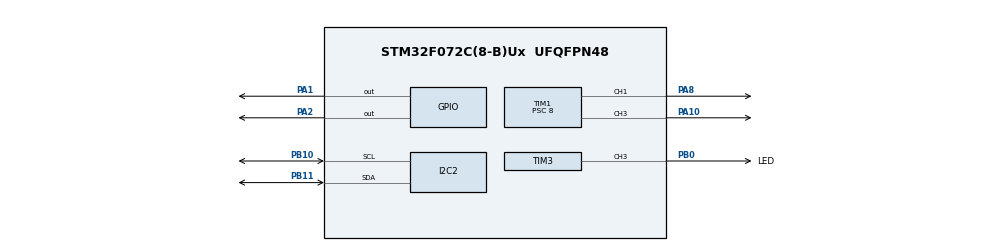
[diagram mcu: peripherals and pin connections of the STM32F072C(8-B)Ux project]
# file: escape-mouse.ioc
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I2C2.Timing=0x2000090E
Mcu.Family=STM32F0
Mcu.Name=STM32F072C(8-B)Ux
Mcu.Package=UFQFPN48
PA1.Signal=GPIO_Output
PA10.Signal=S_TIM1_CH3
PA13.Mode=Serial-WireDebug
PA13.Signal=SYS_SWDIO
PA14.Mode=Serial-WireDebug
PA14.Signal=SYS_SWCLK
PA2.Signal=GPIO_Output
PA8.Signal=S_TIM1_CH1
PB0.GPIO_Label=LED
PB0.GPIO_ModeDefaultPP=GPIO_MODE_AF_PP
PB0.GPIO_PuPd=GPIO_NOPULL
PB0.GPIO_Speed=GPIO_SPEED_LOW
PB0.Signal=S_TIM3_CH3
PB10.GPIO_Mode=GPIO_MODE_AF_OD
PB10.GPIO_PuPdOD=GPIO_NOPULL
PB10.GPIO_Speed=GPIO_SPEED_HIGH
PB10.Mode=I2C
PB10.Signal=I2C2_SCL
PB11.GPIO_Mode=GPIO_MODE_AF_OD
PB11.GPIO_PuPdOD=GPIO_NOPULL
PB11.GPIO_Speed=GPIO_SPEED_HIGH
PB11.Mode=I2C
PB11.Signal=I2C2_SDA
ProjectManager.TargetToolchain=MDK-ARM V5
SH.S_TIM1_CH1.0=TIM1_CH1,PWM Generation1 CH1
SH.S_TIM1_CH3.0=TIM1_CH3,PWM Generation3 CH3
SH.S_TIM3_CH3.0=TIM3_CH3,PWM Generation3 CH3
TIM1.Channel-PWM\ Generation3\ CH3=TIM_CHANNEL_3
TIM1.Period=20000
TIM1.Prescaler=8
TIM1.Pulse-PWM\ Generation1\ CH1=1340
TIM1.Pulse-PWM\ Generation3\ CH3=1340
TIM3.Channel-PWM\ Generation3\ CH3=TIM_CHANNEL_3
TIM3.Period=1000
TIM3.Prescaler=8
TIM3.Pulse-PWM\ Generation3\ CH3=120
VP_TIM1_VS_ClockSourceINT.Mode=Internal
VP_TIM3_VS_ClockSourceINT.Mode=Internal
board=escape-mouse

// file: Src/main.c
/**
  ******************************************************************************
  * File Name          : main.c
  * Description        : Main program body
  ******************************************************************************
  *
  * COPYRIGHT(c) 2015 STMicroelectronics
  *
  * Redistribution and use in source and binary forms, with or without modification,
  * are permitted provided that the following conditions are met:
  *   1. Redistributions of source code must retain the above copyright notice,
  *      this list of conditions and the following disclaimer.
  *   2. Redistributions in binary form must reproduce the above copyright notice,
  *      this list of conditions and the following disclaimer in the documentation
  *      and/or other materials provided with the distribution.
  *   3. Neither the name of STMicroelectronics nor the names of its contributors
  *      may be used to endorse or promote products derived from this software
  *      without specific prior written permission.
  *
  * THIS SOFTWARE IS PROVIDED BY THE COPYRIGHT HOLDERS AND CONTRIBUTORS "AS IS"
  * AND ANY EXPRESS OR IMPLIED WARRANTIES, INCLUDING, BUT NOT LIMITED TO, THE
  * IMPLIED WARRANTIES OF MERCHANTABILITY AND FITNESS FOR A PARTICULAR PURPOSE ARE
  * DISCLAIMED. IN NO EVENT SHALL THE COPYRIGHT HOLDER OR CONTRIBUTORS BE LIABLE
  * FOR ANY DIRECT, INDIRECT, INCIDENTAL, SPECIAL, EXEMPLARY, OR CONSEQUENTIAL
  * DAMAGES (INCLUDING, BUT NOT LIMITED TO, PROCUREMENT OF SUBSTITUTE GOODS OR
  * SERVICES; LOSS OF USE, DATA, OR PROFITS; OR BUSINESS INTERRUPTION) HOWEVER
  * CAUSED AND ON ANY THEORY OF LIABILITY, WHETHER IN CONTRACT, STRICT LIABILITY,
  * OR TORT (INCLUDING NEGLIGENCE OR OTHERWISE) ARISING IN ANY WAY OUT OF THE USE
  * OF THIS SOFTWARE, EVEN IF ADVISED OF THE POSSIBILITY OF SUCH DAMAGE.
  *
  ******************************************************************************
  */
#include "stm32f0xx_hal.h"

/* USER CODE BEGIN Includes */
#include "stdbool.h"
#include "vl6180x_api.h"

/* USER CODE END Includes */

I2C_HandleTypeDef hi2c2;

TIM_HandleTypeDef htim1;
TIM_HandleTypeDef htim3;

/* USER CODE BEGIN PV */
/* Private variables ---------------------------------------------------------*/
#define leftSensor  0x52
#define rightSensor  0x62

#define LEFT_RESET_PORT GPIOA
#define RIGHT_RESET_PORT GPIOA
#define LEFT_RESET_PIN GPIO_PIN_2
#define RIGHT_RESET_PIN GPIO_PIN_1

/* USER CODE END PV */

void SystemClock_Config(void);
static void MX_GPIO_Init(void);
static void MX_I2C2_Init(void);
static void MX_TIM1_Init(void);
static void MX_TIM3_Init(void);

/* USER CODE BEGIN PFP */
/* Private function prototypes -----------------------------------------------*/
void VL6180x_Reset(VL6180xDev_t dev, GPIO_PinState state);
int  VL6180x_I2CWrite(VL6180xDev_t dev, uint8_t  *buff, uint8_t len);
void CUSTOM_GPIO_Init(void);

/* USER CODE END PFP */

/* USER CODE BEGIN 0 */
void delay(int ms)
{
	uint32_t v = HAL_GetTick() + ms;
	while(HAL_GetTick() < v){
		__nop();
	}
}
void setMotorPwm(int sign, VL6180x_RangeData_t range, uint32_t channel)
{
	 int basePwm = 1340;
	 if(range.range_mm < 150) {
		 basePwm += sign * (500 - range.range_mm *3);
	 }
	 __HAL_TIM_SET_COMPARE(&htim1,channel,basePwm);
}

/* USER CODE END 0 */

int main(void)
{

  /* USER CODE BEGIN 1 */
	VL6180x_RangeData_t rangeLeft;
	VL6180x_RangeData_t rangeRight;

  /* USER CODE END 1 */

  /* MCU Configuration----------------------------------------------------------*/

  /* Reset of all peripherals, Initializes the Flash interface and the Systick. */
  HAL_Init();

  /* Configure the system clock */
  SystemClock_Config();

  /* Initialize all configured peripherals */
  MX_GPIO_Init();
  MX_I2C2_Init();
  MX_TIM1_Init();
  MX_TIM3_Init();

  /* USER CODE BEGIN 2 */
	CUSTOM_GPIO_Init();
  VL6180x_Reset(leftSensor, GPIO_PIN_RESET);
  VL6180x_Reset(rightSensor, GPIO_PIN_RESET);
  delay(10);
	VL6180x_Reset(rightSensor, GPIO_PIN_SET);
  delay(1);

	VL6180x_WaitDeviceBooted(leftSensor);
	VL6180x_DisableGPIOxOut(leftSensor, 1);
	VL6180x_SetI2CAddress(leftSensor, rightSensor);

  VL6180x_InitData(rightSensor);

	VL6180x_Reset(leftSensor, GPIO_PIN_SET);
  delay(1);
  VL6180x_WaitDeviceBooted(leftSensor);
	VL6180x_DisableGPIOxOut(leftSensor, 1);
  VL6180x_InitData(leftSensor);

    /* Enable Dmax calculation only if value is displayed (to save computation power) */
  VL6180x_DMaxSetState(leftSensor, true);
  VL6180x_DMaxSetState(rightSensor, true);
	VL6180x_Prepare(leftSensor);
	VL6180x_Prepare(rightSensor);

	HAL_TIM_Base_Start(&htim3);
	HAL_TIM_PWM_Start(&htim3, TIM_CHANNEL_3);

	HAL_TIM_Base_Start(&htim1);
	HAL_TIM_PWM_Start(&htim1, TIM_CHANNEL_1);
	HAL_TIM_PWM_Start(&htim1, TIM_CHANNEL_3);
  /* USER CODE END 2 */

  /* Infinite loop */
  while (1)
  {

  /* USER CODE BEGIN 3 */
		VL6180x_RangePollMeasurement(rightSensor, &rangeRight);
		VL6180x_RangePollMeasurement(leftSensor, &rangeLeft);
		int minRange = rangeLeft.range_mm < rangeRight.range_mm ? rangeLeft.range_mm : rangeRight.range_mm;
 		__HAL_TIM_SET_COMPARE(&htim3, TIM_CHANNEL_3, minRange < 200 ? (1000 - minRange * 5 ): 0);
		setMotorPwm(-1, rangeRight, TIM_CHANNEL_1);
		setMotorPwm(1, rangeLeft, TIM_CHANNEL_3);
  }
  /* USER CODE END 3 */

}

/** System Clock Configuration
*/
void SystemClock_Config(void)
{

  RCC_OscInitTypeDef RCC_OscInitStruct;
  RCC_ClkInitTypeDef RCC_ClkInitStruct;

  RCC_OscInitStruct.OscillatorType = RCC_OSCILLATORTYPE_HSI;
  RCC_OscInitStruct.HSIState = RCC_HSI_ON;
  RCC_OscInitStruct.HSICalibrationValue = 16;
  RCC_OscInitStruct.PLL.PLLState = RCC_PLL_NONE;
  HAL_RCC_OscConfig(&RCC_OscInitStruct);

  RCC_ClkInitStruct.ClockType = RCC_CLOCKTYPE_SYSCLK;
  RCC_ClkInitStruct.SYSCLKSource = RCC_SYSCLKSOURCE_HSI;
  RCC_ClkInitStruct.AHBCLKDivider = RCC_SYSCLK_DIV1;
  RCC_ClkInitStruct.APB1CLKDivider = RCC_HCLK_DIV1;
  HAL_RCC_ClockConfig(&RCC_ClkInitStruct, FLASH_LATENCY_0);

  HAL_SYSTICK_Config(HAL_RCC_GetHCLKFreq()/1000);

  HAL_SYSTICK_CLKSourceConfig(SYSTICK_CLKSOURCE_HCLK);

  /* SysTick_IRQn interrupt configuration */
  HAL_NVIC_SetPriority(SysTick_IRQn, 0, 0);
}

/* I2C2 init function */
void MX_I2C2_Init(void)
{

  hi2c2.Instance = I2C2;
  hi2c2.Init.Timing = 0x2000090E;
  hi2c2.Init.OwnAddress1 = 0;
  hi2c2.Init.AddressingMode = I2C_ADDRESSINGMODE_7BIT;
  hi2c2.Init.DualAddressMode = I2C_DUALADDRESS_DISABLED;
  hi2c2.Init.OwnAddress2 = 0;
  hi2c2.Init.OwnAddress2Masks = I2C_OA2_NOMASK;
  hi2c2.Init.GeneralCallMode = I2C_GENERALCALL_DISABLED;
  hi2c2.Init.NoStretchMode = I2C_NOSTRETCH_DISABLED;
  HAL_I2C_Init(&hi2c2);

    /**Configure Analogue filter
    */
  HAL_I2CEx_AnalogFilter_Config(&hi2c2, I2C_ANALOGFILTER_ENABLED);

}

/* TIM1 init function */
void MX_TIM1_Init(void)
{

  TIM_ClockConfigTypeDef sClockSourceConfig;
  TIM_MasterConfigTypeDef sMasterConfig;
  TIM_BreakDeadTimeConfigTypeDef sBreakDeadTimeConfig;
  TIM_OC_InitTypeDef sConfigOC;

  htim1.Instance = TIM1;
  htim1.Init.Prescaler = 8;
  htim1.Init.CounterMode = TIM_COUNTERMODE_UP;
  htim1.Init.Period = 20000;
  htim1.Init.ClockDivision = TIM_CLOCKDIVISION_DIV1;
  htim1.Init.RepetitionCounter = 0;
  HAL_TIM_Base_Init(&htim1);

  sClockSourceConfig.ClockSource = TIM_CLOCKSOURCE_INTERNAL;
  HAL_TIM_ConfigClockSource(&htim1, &sClockSourceConfig);

  HAL_TIM_PWM_Init(&htim1);

  sMasterConfig.MasterOutputTrigger = TIM_TRGO_RESET;
  sMasterConfig.MasterSlaveMode = TIM_MASTERSLAVEMODE_DISABLE;
  HAL_TIMEx_MasterConfigSynchronization(&htim1, &sMasterConfig);

  sBreakDeadTimeConfig.OffStateRunMode = TIM_OSSR_DISABLE;
  sBreakDeadTimeConfig.OffStateIDLEMode = TIM_OSSI_DISABLE;
  sBreakDeadTimeConfig.LockLevel = TIM_LOCKLEVEL_OFF;
  sBreakDeadTimeConfig.DeadTime = 0;
  sBreakDeadTimeConfig.BreakState = TIM_BREAK_DISABLE;
  sBreakDeadTimeConfig.BreakPolarity = TIM_BREAKPOLARITY_HIGH;
  sBreakDeadTimeConfig.AutomaticOutput = TIM_AUTOMATICOUTPUT_DISABLE;
  HAL_TIMEx_ConfigBreakDeadTime(&htim1, &sBreakDeadTimeConfig);

  sConfigOC.OCMode = TIM_OCMODE_PWM1;
  sConfigOC.Pulse = 1340;
  sConfigOC.OCPolarity = TIM_OCPOLARITY_HIGH;
  sConfigOC.OCNPolarity = TIM_OCNPOLARITY_HIGH;
  sConfigOC.OCFastMode = TIM_OCFAST_DISABLE;
  sConfigOC.OCIdleState = TIM_OCIDLESTATE_RESET;
  sConfigOC.OCNIdleState = TIM_OCNIDLESTATE_RESET;
  HAL_TIM_PWM_ConfigChannel(&htim1, &sConfigOC, TIM_CHANNEL_1);

  HAL_TIM_PWM_ConfigChannel(&htim1, &sConfigOC, TIM_CHANNEL_3);

}

/* TIM3 init function */
void MX_TIM3_Init(void)
{

  TIM_ClockConfigTypeDef sClockSourceConfig;
  TIM_MasterConfigTypeDef sMasterConfig;
  TIM_OC_InitTypeDef sConfigOC;

  htim3.Instance = TIM3;
  htim3.Init.Prescaler = 8;
  htim3.Init.CounterMode = TIM_COUNTERMODE_UP;
  htim3.Init.Period = 1000;
  htim3.Init.ClockDivision = TIM_CLOCKDIVISION_DIV1;
  HAL_TIM_Base_Init(&htim3);

  sClockSourceConfig.ClockSource = TIM_CLOCKSOURCE_INTERNAL;
  HAL_TIM_ConfigClockSource(&htim3, &sClockSourceConfig);

  HAL_TIM_PWM_Init(&htim3);

  sMasterConfig.MasterOutputTrigger = TIM_TRGO_RESET;
  sMasterConfig.MasterSlaveMode = TIM_MASTERSLAVEMODE_DISABLE;
  HAL_TIMEx_MasterConfigSynchronization(&htim3, &sMasterConfig);

  sConfigOC.OCMode = TIM_OCMODE_PWM1;
  sConfigOC.Pulse = 120;
  sConfigOC.OCPolarity = TIM_OCPOLARITY_HIGH;
  sConfigOC.OCFastMode = TIM_OCFAST_DISABLE;
  HAL_TIM_PWM_ConfigChannel(&htim3, &sConfigOC, TIM_CHANNEL_3);

}

/** Configure pins as
        * Analog
        * Input
        * Output
        * EVENT_OUT
        * EXTI
*/
void MX_GPIO_Init(void)
{

  GPIO_InitTypeDef GPIO_InitStruct;

  /* GPIO Ports Clock Enable */
  __GPIOA_CLK_ENABLE();
  __GPIOB_CLK_ENABLE();

  /*Configure GPIO pins : PA1 PA2 */
  GPIO_InitStruct.Pin = GPIO_PIN_1|GPIO_PIN_2;
  GPIO_InitStruct.Mode = GPIO_MODE_OUTPUT_PP;
  GPIO_InitStruct.Pull = GPIO_NOPULL;
  GPIO_InitStruct.Speed = GPIO_SPEED_LOW;
  HAL_GPIO_Init(GPIOA, &GPIO_InitStruct);

}

/* USER CODE BEGIN 4 */

/**
 *
 * @brief       Read data buffer from VL6180x device via i2c
 * @param dev   The device to read from
 * @param buff  The data buffer to fill
 * @param len   The length of the transaction in byte
 * @return      0 on success
 * @ingroup  cci_i2c
 */
void CUSTOM_GPIO_Init(void)
{

  GPIO_InitTypeDef GPIO_InitStruct;

  /* GPIO Ports Clock Enable */
  __GPIOA_CLK_ENABLE();
  __GPIOB_CLK_ENABLE();

  /*Configure GPIO pins : PA1 PA2 */
  GPIO_InitStruct.Pin = GPIO_PIN_1|GPIO_PIN_2;
  GPIO_InitStruct.Mode = GPIO_MODE_OUTPUT_OD;
  GPIO_InitStruct.Pull = GPIO_PULLUP;
  GPIO_InitStruct.Speed = GPIO_SPEED_LOW;
  HAL_GPIO_Init(GPIOA, &GPIO_InitStruct);

}
int VL6180x_I2CRead(VL6180xDev_t dev, uint8_t *buff, uint8_t len) {
		HAL_StatusTypeDef res =  HAL_I2C_Master_Receive(&hi2c2, dev, buff, len, 20000);
	return res == HAL_OK ? 0 : -1;
}

void VL6180x_PollDelay(VL6180xDev_t dev) {}
void VL6180x_Reset(VL6180xDev_t device, GPIO_PinState state)
{
	if(device == leftSensor) {
		HAL_GPIO_WritePin(LEFT_RESET_PORT, LEFT_RESET_PIN, state);
	} else {
		HAL_GPIO_WritePin(RIGHT_RESET_PORT, RIGHT_RESET_PIN, state);
	}
}

/**
 * @brief       Write data buffer to VL6180x device via i2c
 * @param dev   The device to write to
 * @param buff  The data buffer
 * @param len   The length of the transaction in byte
 * @return      0 on success
 * @ingroup cci_i2c
 */
int  VL6180x_I2CWrite(VL6180xDev_t dev, uint8_t  *buff, uint8_t len) {
	HAL_StatusTypeDef res =  HAL_I2C_Master_Transmit(&hi2c2, dev, buff,len, 20000);
	return res == HAL_OK ? 0 : -1;
}
/* USER CODE END 4 */

/************************ (C) COPYRIGHT STMicroelectronics *****END OF FILE****/
